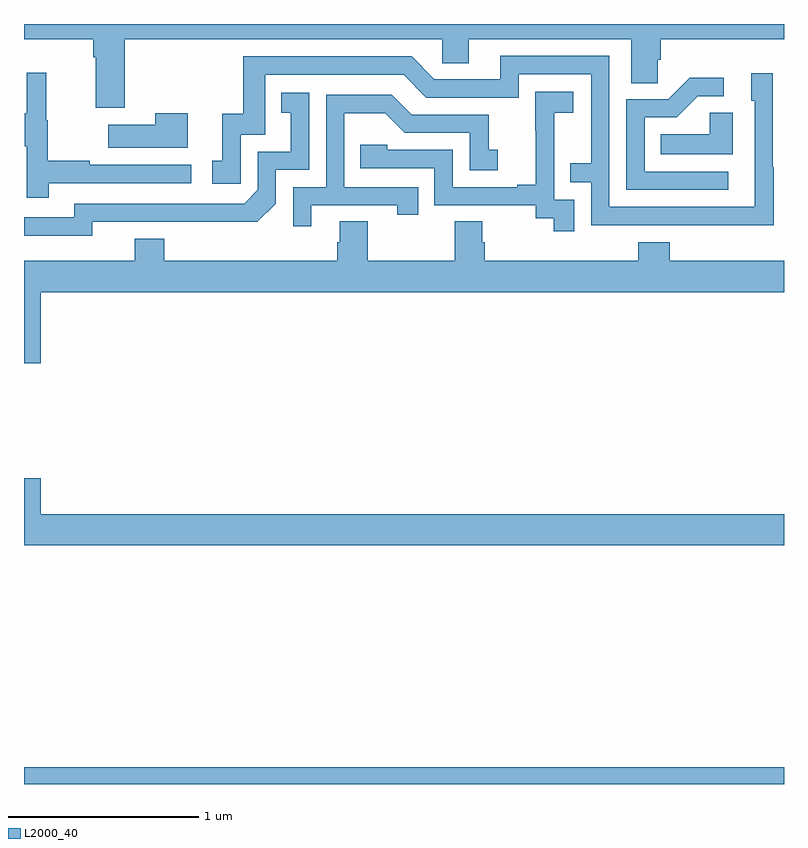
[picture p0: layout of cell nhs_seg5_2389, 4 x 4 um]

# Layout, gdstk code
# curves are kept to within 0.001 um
import gdstk
lib = gdstk.Library(unit=1e-6, precision=1e-09)
def R(c, l, rs):  # rectangles x0, y0, x1, y1
    for r in rs: c.add(gdstk.rectangle(r[:2], r[2:], *l))
def P(c, l, *ps):  # polygons
    for p in ps: c.add(gdstk.Polygon(p, *l))
L2000_40 = (2000, 40)

nhs_seg5_2389 = lib.new_cell('nhs_seg5_2389')
R(nhs_seg5_2389, L2000_40, [(249,892.799,253,892.888)])
P(nhs_seg5_2389, L2000_40, [(249.53,896.72),(251.202,896.72),(251.202,896.593),(251.341,896.593),(251.341,896.72),(252.197,896.72),(252.197,896.488),(252.336,896.488),(252.336,896.611),(252.35,896.611),(252.35,896.72),(253,896.72),(253,896.799),(249,896.799),(249,896.72),(249.365,896.72),(249.365,896.624),(249.377,896.624),(249.377,896.358),(249.53,896.358)],
  [(252.945,896.045),(252.942,896.045),(252.942,896.539),(252.827,896.539),(252.827,896.394),(252.846,896.394),(252.846,895.836),(252.081,895.836),(252.081,896.631),(251.507,896.631),(251.507,896.508),(251.16,896.508),(251.04,896.628),(250.153,896.628),(250.153,896.326),(250.043,896.326),(250.043,896.079),(249.99,896.079),(249.99,895.959),(250.14,895.959),(250.14,896.217),(250.269,896.217),(250.269,896.532),(250.998,896.532),(251.118,896.412),(251.604,896.412),(251.604,896.535),(251.985,896.535),(251.985,896.066),(251.875,896.066),(251.875,895.965),(251.985,895.965),(251.985,895.74),(252.945,895.739)],
  [(249.131,895.962),(249.88,895.962),(249.88,896.058),(249.347,896.058),(249.347,896.078),(249.124,896.078),(249.124,896.292),(249.116,896.292),(249.116,896.542),(249.014,896.542),(249.014,896.329),(249.003,896.329),(249.003,896.155),(249.014,896.155),(249.014,895.884),(249.131,895.884)],
  [(252.706,896.022),(252.267,896.022),(252.267,896.307),(252.436,896.307),(252.547,896.418),(252.682,896.418),(252.682,896.516),(252.503,896.516),(252.39,896.403),(252.171,896.403),(252.171,895.926),(252.706,895.926)],
  [(251.895,895.875),(251.79,895.875),(251.79,896.105),(251.792,896.105),(251.792,896.333),(251.89,896.333),(251.89,896.443),(251.692,896.443),(251.692,896.237),(251.693,896.237),(251.693,895.954),(251.597,895.954),(251.597,895.941),(251.256,895.941),(251.256,896.136),(250.911,896.136),(250.911,896.163),(250.771,896.163),(250.771,896.04),(251.16,896.04),(251.16,895.845),(251.694,895.845),(251.694,895.777),(251.787,895.777),(251.787,895.707),(251.895,895.707)],
  [(249.36,895.758),(250.228,895.757),(250.326,895.854),(250.326,896.031),(250.5,896.031),(250.5,896.437),(250.354,896.437),(250.354,896.331),(250.403,896.331),(250.403,896.127),(250.23,896.127),(250.23,895.926),(250.158,895.854),(249.264,895.854),(249.264,895.782),(249,895.782),(249,895.685),(249.36,895.685)],
  [(250.513,895.845),(250.964,895.845),(250.964,895.794),(251.075,895.794),(251.075,895.941),(250.686,895.941),(250.686,896.33),(250.9,896.33),(251.004,896.226),(251.346,896.226),(251.346,896.028),(251.494,896.028),(251.494,896.137),(251.445,896.137),(251.445,896.322),(251.041,896.322),(250.936,896.427),(250.59,896.427),(250.59,895.941),(250.416,895.941),(250.416,895.734),(250.513,895.734)],
  [(252.73,896.333),(252.609,896.333),(252.609,896.218),(252.352,896.218),(252.352,896.114),(252.73,896.114)],
  [(249.862,896.329),(249.692,896.329),(249.692,896.269),(249.443,896.269),(249.443,896.147),(249.862,896.147)],
  [(249.088,895.388),(253,895.388),(253,895.552),(252.398,895.552),(252.398,895.651),(252.233,895.651),(252.233,895.552),(251.426,895.552),(251.426,895.65),(251.413,895.65),(251.413,895.76),(251.266,895.76),(251.266,895.552),(250.809,895.552),(250.809,895.76),(250.661,895.76),(250.661,895.65),(250.649,895.65),(250.649,895.552),(249.737,895.552),(249.737,895.669),(249.584,895.669),(249.584,895.552),(249,895.552),(249,895.014),(249.088,895.014)],
  [(253,894.22),(249.088,894.22),(249.088,894.409),(249,894.409),(249,894.056),(253,894.056)])

lib.write_gds('nhs_seg5_2389.gds')
